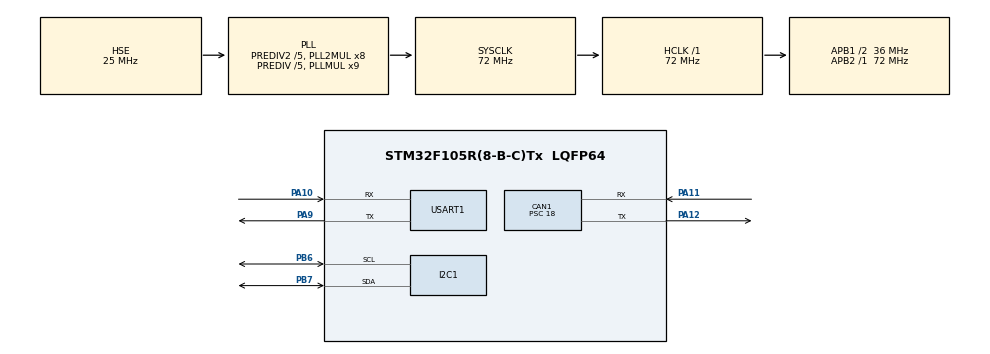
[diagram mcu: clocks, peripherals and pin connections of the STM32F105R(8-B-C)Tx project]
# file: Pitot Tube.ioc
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CAN1.BS1=CAN_BS1_2TQ
CAN1.CalculateBaudRate=500000
CAN1.CalculateTimeBit=2000
CAN1.CalculateTimeQuantum=500.0
CAN1.Prescaler=18
Dma.I2C1_RX.1.Direction=DMA_PERIPH_TO_MEMORY
Dma.I2C1_RX.1.Instance=DMA1_Channel7
Dma.I2C1_RX.1.MemDataAlignment=DMA_MDATAALIGN_BYTE
Dma.I2C1_RX.1.MemInc=DMA_MINC_ENABLE
Dma.I2C1_RX.1.Mode=DMA_NORMAL
Dma.I2C1_RX.1.PeriphDataAlignment=DMA_PDATAALIGN_BYTE
Dma.I2C1_RX.1.PeriphInc=DMA_PINC_DISABLE
Dma.I2C1_RX.1.Priority=DMA_PRIORITY_LOW
Dma.I2C1_TX.0.Direction=DMA_MEMORY_TO_PERIPH
Dma.I2C1_TX.0.Instance=DMA1_Channel6
Dma.I2C1_TX.0.MemDataAlignment=DMA_MDATAALIGN_BYTE
Dma.I2C1_TX.0.MemInc=DMA_MINC_ENABLE
Dma.I2C1_TX.0.Mode=DMA_NORMAL
Dma.I2C1_TX.0.PeriphDataAlignment=DMA_PDATAALIGN_BYTE
Dma.I2C1_TX.0.PeriphInc=DMA_PINC_DISABLE
Dma.I2C1_TX.0.Priority=DMA_PRIORITY_LOW
Dma.Request0=I2C1_TX
Dma.Request1=I2C1_RX
I2C1.I2C_Mode=I2C_Standard
Mcu.Family=STM32F1
Mcu.Name=STM32F105R(8-B-C)Tx
Mcu.Package=LQFP64
NVIC.DMA1_Channel6_IRQn=true\:0\:0\:false\:false\:true\:false\:true\:true
NVIC.DMA1_Channel7_IRQn=true\:0\:0\:false\:false\:true\:false\:true\:true
NVIC.I2C1_ER_IRQn=true\:0\:0\:false\:false\:true\:true\:true\:true
NVIC.I2C1_EV_IRQn=true\:0\:0\:false\:false\:true\:true\:true\:true
NVIC.PriorityGroup=NVIC_PRIORITYGROUP_4
PA10.Mode=Asynchronous
PA10.Signal=USART1_RX
PA11.Mode=CAN_Activate
PA11.Signal=CAN1_RX
PA12.Mode=CAN_Activate
PA12.Signal=CAN1_TX
PA13.Mode=Serial_Wire
PA13.Signal=SYS_JTMS-SWDIO
PA14.Mode=Serial_Wire
PA14.Signal=SYS_JTCK-SWCLK
PA9.Mode=Asynchronous
PA9.Signal=USART1_TX
PB6.Mode=I2C
PB6.Signal=I2C1_SCL
PB7.Mode=I2C
PB7.Signal=I2C1_SDA
PD0-OSC_IN.Mode=HSE-External-Oscillator
PD0-OSC_IN.Signal=RCC_OSC_IN
PD1-OSC_OUT.Mode=HSE-External-Oscillator
PD1-OSC_OUT.Signal=RCC_OSC_OUT
ProjectManager.HeapSize=0x200
ProjectManager.StackSize=0x400
ProjectManager.TargetToolchain=STM32CubeIDE
RCC.AHBFreq_Value=72000000
RCC.APB1CLKDivider=RCC_HCLK_DIV2
RCC.APB1Freq_Value=36000000
RCC.APB1TimFreq_Value=72000000
RCC.APB2Freq_Value=72000000
RCC.APB2TimFreq_Value=72000000
RCC.HCLKFreq_Value=72000000
RCC.HSEDivPLL=RCC_HSE_PREDIV_DIV5
RCC.HSE_VALUE=25000000
RCC.PLLMUL=RCC_PLL_MUL9
RCC.PLLSourceVirtual=RCC_PLLSOURCE_HSE
RCC.Prediv1Source=RCC_PREDIV1_SOURCE_PLL2
RCC.Prediv2=RCC_HSE_PREDIV2_DIV5
RCC.SYSCLKFreq_VALUE=72000000
RCC.SYSCLKSource=RCC_SYSCLKSOURCE_PLLCLK
RCC.USBFreq_Value=48000000
USART1.VirtualMode=VM_ASYNC
board=custom

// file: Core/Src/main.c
/* USER CODE BEGIN Header */
/**
  ******************************************************************************
  * @file           : main.c
  * @brief          : Main program body
  ******************************************************************************
  * @attention
  *
  * Copyright (c) 2026 STMicroelectronics.
  * All rights reserved.
  *
  * This software is licensed under terms that can be found in the LICENSE file
  * in the root directory of this software component.
  * If no LICENSE file comes with this software, it is provided AS-IS.
  *
  ******************************************************************************
  */
/* USER CODE END Header */
#include "main.h"

/* USER CODE BEGIN Includes */
#include <math.h>
#include <stdlib.h>
/* USER CODE END Includes */

/* USER CODE BEGIN PTD */
typedef struct Sensor_Readings_t{
	uint8_t buff[6];
	uint16_t raw_pressure_reading;
	uint8_t dsp_s_up;
	float pressure_reading;
} Sensor_readings;

/* USER CODE END PTD */

/* USER CODE BEGIN PD */
#define DEVICE_ADDRESS 0x6C
#define DATA_ADDRESS 0x2E //Reads corrected IC Temp, corrected Pressure signal
						  //and synchronized status bits of sensor
						  //status bits: bit 3 is dsp_s_up, bit 4 is dsp_t_up
						  //pressure, temperature indicator
#define COMMAND_REGISTER 0x22
#define AIR_DENSITY 1.2250
#define CAN_ID 0x260
#define MIN_PRESSURE -0.29
#define MAX_PRESSURE 0.29
#define MIN_PRESSURE_COUNTS -26215
#define MAX_PRESSURE_COUNTS 26214
#define AIRSPEED_ZERO 1.636 // m/s  was 1.367

/* USER CODE END PD */

CAN_HandleTypeDef hcan1;

I2C_HandleTypeDef hi2c1;
DMA_HandleTypeDef hdma_i2c1_tx;
DMA_HandleTypeDef hdma_i2c1_rx;

UART_HandleTypeDef huart1;

/* USER CODE BEGIN PV */
float pressure_diff;
float wind_vel = 0;
uint32_t wind_vel_mm = 0;
Sensor_readings sensor;
uint8_t reset[] = {0x69, 0xB1};
uint8_t reset_counter;

//CAN Variables
CAN_TxHeaderTypeDef Tx_Header;
uint32_t Tx_Mailbox;

/* USER CODE END PV */

void SystemClock_Config(void);
static void MX_GPIO_Init(void);
static void MX_DMA_Init(void);
static void MX_CAN1_Init(void);
static void MX_I2C1_Init(void);
static void MX_USART1_UART_Init(void);
/* USER CODE BEGIN PFP */
void process_pressure_data(Sensor_readings *sensor);
void read_sensor_data(Sensor_readings *sensor);
void CAN_header_init(void);
void reset_sensor(void);
/* USER CODE END PFP */

/* USER CODE BEGIN 0 */

/* Read the data collected by SM7391 differential pressure
 * sensor and return it as a float in pascals
 */

void read_sensor_data(Sensor_readings *sensor){

	HAL_I2C_Mem_Read(&hi2c1, DEVICE_ADDRESS<<1, DATA_ADDRESS, 1, sensor->buff, 6, HAL_MAX_DELAY);
	//Temperature and Pressure Registers have invalid data after power-up
	//After power-up, wait until status dsp_s_up has been set at least once

	//The dsp status bits are bits 3 (pressure) and 4 (temperature) of buff[4]
	sensor->dsp_s_up = sensor->buff[4] & (1 << 3); //This will return 8 if true, but it is used as bool anyways
	//dsp_t_up = buff[4] & (1 << 4);

	//Temp readings are in buff[0] and buff[1]
	//buff[1] is the hi-byte
	//pressure readings are in buff[2] and buff[3]
	//buff[3] is the hi-byte

	if(sensor->dsp_s_up){
		reset_counter = 0;
		sensor->raw_pressure_reading = (sensor->buff[3] << 8) | sensor->buff[2];
		process_pressure_data(sensor);
	}

	//what should happen if pressure data isn't valid?
	else{
		sensor->pressure_reading = -1.0;
		if(reset_counter < 5){
		 reset_counter = reset_counter + 1;
		}
	}

}

/* Process the raw pressure reading
 * and return it in pascals
 */

void process_pressure_data(Sensor_readings *sensor){
	//this is in psi,
	//equation from datasheet
	sensor->pressure_reading = sensor->raw_pressure_reading - MIN_PRESSURE_COUNTS;

	sensor->pressure_reading = sensor->pressure_reading * (MAX_PRESSURE - MIN_PRESSURE);

	sensor->pressure_reading = sensor->pressure_reading / (MAX_PRESSURE_COUNTS - MIN_PRESSURE_COUNTS);

	sensor->pressure_reading = MIN_PRESSURE + sensor->pressure_reading;

	//1 psi = 6894.75729 pascal
	sensor->pressure_reading = sensor->pressure_reading * 6894.75729; //in pascal
}

void CAN_header_init(void){
	Tx_Header.StdId = CAN_ID;
	Tx_Header.DLC = 4; //Four bytes for the wind velocity reading (32-bit)
	Tx_Header.IDE = CAN_ID_STD;
	Tx_Header.RTR = CAN_RTR_DATA;
}

void reset_sensor(void){
	uint8_t buff[2] = {0};
	HAL_I2C_Mem_Write(&hi2c1, DEVICE_ADDRESS << 1, COMMAND_REGISTER, 1, reset, 1, HAL_MAX_DELAY);
	HAL_Delay(2);
	HAL_I2C_Mem_Read(&hi2c1, DEVICE_ADDRESS <<1, 0x30, 1, buff, 2, HAL_MAX_DELAY); //read just pressure data to hopefully reset status bit.
	reset_counter++;
}

void send_CAN(uint8_t data_buff[]){
	if(HAL_CAN_GetTxMailboxesFreeLevel(&hcan1) == 0){
		  uint32_t start = HAL_GetTick();

		  while(HAL_CAN_GetTxMailboxesFreeLevel(&hcan1) == 0){
			  if((HAL_GetTick() - start) > 10){ //give it 10 ticks, after that leave function
				  return;
			  }
		  }
	  }
	HAL_CAN_AddTxMessage(&hcan1, &Tx_Header, data_buff, &Tx_Mailbox);
}

/* USER CODE END 0 */

int main(void)
{

  /* MCU Configuration--------------------------------------------------------*/

  /* Reset of all peripherals, Initializes the Flash interface and the Systick. */
  HAL_Init();

  /* Configure the system clock */
  SystemClock_Config();

  /* Initialize all configured peripherals */
  MX_GPIO_Init();
  MX_DMA_Init();
  MX_CAN1_Init();
  MX_I2C1_Init();
  MX_USART1_UART_Init();
  /* USER CODE BEGIN 2 */
  CAN_header_init();

  uint8_t data_buff[] = {0};
  //reset_sensor();

  HAL_CAN_Start(&hcan1);
  /* USER CODE END 2 */

  /* Infinite loop */
  /* USER CODE BEGIN WHILE */

  while (1)
  {

	  read_sensor_data(&sensor); //in pascals
	  wind_vel = sqrt( (2.0 / ((float) AIR_DENSITY)) * (sensor.pressure_reading) ); //in m/s
	  wind_vel = wind_vel - AIRSPEED_ZERO;

	  //prevent negative wind_vel
	  //anything under the zero value is going to output 0.
	  if (wind_vel < 0){
		  wind_vel = 0;
	  }

	  wind_vel_mm = (uint32_t) (wind_vel * 1000); //stored in mm/s now with 32-bits

	  //store 32-bit data into 4 bytes for sending over CAN

	  data_buff[0] = (uint8_t) ((wind_vel_mm >> 24)); //255 = 11111111 (8 bits all on)
	  data_buff[1] = (uint8_t) ((wind_vel_mm >> 16));
	  data_buff[2] = (uint8_t) ((wind_vel_mm >> 8));
	  data_buff[3] = (uint8_t) ((wind_vel_mm));

	  //data is stored into the buffer highest byte to lowest byte
	  send_CAN(data_buff);

	  HAL_Delay(100); //100ms --> 10HZ, should change it to 10ms for 100HZ

    /* USER CODE END WHILE */

  }
}

void SystemClock_Config(void)
{
  RCC_OscInitTypeDef RCC_OscInitStruct = {0};
  RCC_ClkInitTypeDef RCC_ClkInitStruct = {0};

  /** Initializes the RCC Oscillators according to the specified parameters
  * in the RCC_OscInitTypeDef structure.
  */
  RCC_OscInitStruct.OscillatorType = RCC_OSCILLATORTYPE_HSE;
  RCC_OscInitStruct.HSEState = RCC_HSE_ON;
  RCC_OscInitStruct.HSEPredivValue = RCC_HSE_PREDIV_DIV5;
  RCC_OscInitStruct.HSIState = RCC_HSI_ON;
  RCC_OscInitStruct.Prediv1Source = RCC_PREDIV1_SOURCE_PLL2;
  RCC_OscInitStruct.PLL.PLLState = RCC_PLL_ON;
  RCC_OscInitStruct.PLL.PLLSource = RCC_PLLSOURCE_HSE;
  RCC_OscInitStruct.PLL.PLLMUL = RCC_PLL_MUL9;
  RCC_OscInitStruct.PLL2.PLL2State = RCC_PLL2_ON;
  RCC_OscInitStruct.PLL2.PLL2MUL = RCC_PLL2_MUL8;
  RCC_OscInitStruct.PLL2.HSEPrediv2Value = RCC_HSE_PREDIV2_DIV5;
  if (HAL_RCC_OscConfig(&RCC_OscInitStruct) != HAL_OK)
  {
    Error_Handler();
  }

  /** Initializes the CPU, AHB and APB buses clocks
  */
  RCC_ClkInitStruct.ClockType = RCC_CLOCKTYPE_HCLK|RCC_CLOCKTYPE_SYSCLK
                              |RCC_CLOCKTYPE_PCLK1|RCC_CLOCKTYPE_PCLK2;
  RCC_ClkInitStruct.SYSCLKSource = RCC_SYSCLKSOURCE_PLLCLK;
  RCC_ClkInitStruct.AHBCLKDivider = RCC_SYSCLK_DIV1;
  RCC_ClkInitStruct.APB1CLKDivider = RCC_HCLK_DIV2;
  RCC_ClkInitStruct.APB2CLKDivider = RCC_HCLK_DIV1;

  if (HAL_RCC_ClockConfig(&RCC_ClkInitStruct, FLASH_LATENCY_2) != HAL_OK)
  {
    Error_Handler();
  }

  /** Configure the Systick interrupt time
  */
  __HAL_RCC_PLLI2S_ENABLE();
}

static void MX_CAN1_Init(void)
{

  hcan1.Instance = CAN1;
  hcan1.Init.Prescaler = 18;
  hcan1.Init.Mode = CAN_MODE_NORMAL;
  hcan1.Init.SyncJumpWidth = CAN_SJW_1TQ;
  hcan1.Init.TimeSeg1 = CAN_BS1_2TQ;
  hcan1.Init.TimeSeg2 = CAN_BS2_1TQ;
  hcan1.Init.TimeTriggeredMode = DISABLE;
  hcan1.Init.AutoBusOff = DISABLE;
  hcan1.Init.AutoWakeUp = DISABLE;
  hcan1.Init.AutoRetransmission = DISABLE;
  hcan1.Init.ReceiveFifoLocked = DISABLE;
  hcan1.Init.TransmitFifoPriority = DISABLE;
  if (HAL_CAN_Init(&hcan1) != HAL_OK)
  {
    Error_Handler();
  }

}

static void MX_I2C1_Init(void)
{

  hi2c1.Instance = I2C1;
  hi2c1.Init.ClockSpeed = 100000;
  hi2c1.Init.DutyCycle = I2C_DUTYCYCLE_2;
  hi2c1.Init.OwnAddress1 = 0;
  hi2c1.Init.AddressingMode = I2C_ADDRESSINGMODE_7BIT;
  hi2c1.Init.DualAddressMode = I2C_DUALADDRESS_DISABLE;
  hi2c1.Init.OwnAddress2 = 0;
  hi2c1.Init.GeneralCallMode = I2C_GENERALCALL_DISABLE;
  hi2c1.Init.NoStretchMode = I2C_NOSTRETCH_DISABLE;
  if (HAL_I2C_Init(&hi2c1) != HAL_OK)
  {
    Error_Handler();
  }

}

static void MX_USART1_UART_Init(void)
{

  huart1.Instance = USART1;
  huart1.Init.BaudRate = 115200;
  huart1.Init.WordLength = UART_WORDLENGTH_8B;
  huart1.Init.StopBits = UART_STOPBITS_1;
  huart1.Init.Parity = UART_PARITY_NONE;
  huart1.Init.Mode = UART_MODE_TX_RX;
  huart1.Init.HwFlowCtl = UART_HWCONTROL_NONE;
  huart1.Init.OverSampling = UART_OVERSAMPLING_16;
  if (HAL_UART_Init(&huart1) != HAL_OK)
  {
    Error_Handler();
  }

}

static void MX_DMA_Init(void)
{

  /* DMA controller clock enable */
  __HAL_RCC_DMA1_CLK_ENABLE();

  /* DMA interrupt init */
  /* DMA1_Channel6_IRQn interrupt configuration */
  HAL_NVIC_SetPriority(DMA1_Channel6_IRQn, 0, 0);
  HAL_NVIC_EnableIRQ(DMA1_Channel6_IRQn);
  /* DMA1_Channel7_IRQn interrupt configuration */
  HAL_NVIC_SetPriority(DMA1_Channel7_IRQn, 0, 0);
  HAL_NVIC_EnableIRQ(DMA1_Channel7_IRQn);

}

static void MX_GPIO_Init(void)
{

  /* GPIO Ports Clock Enable */
  __HAL_RCC_GPIOD_CLK_ENABLE();
  __HAL_RCC_GPIOA_CLK_ENABLE();
  __HAL_RCC_GPIOB_CLK_ENABLE();

}

void Error_Handler(void)
{
  __disable_irq();
  while (1)
  {
  }
}
